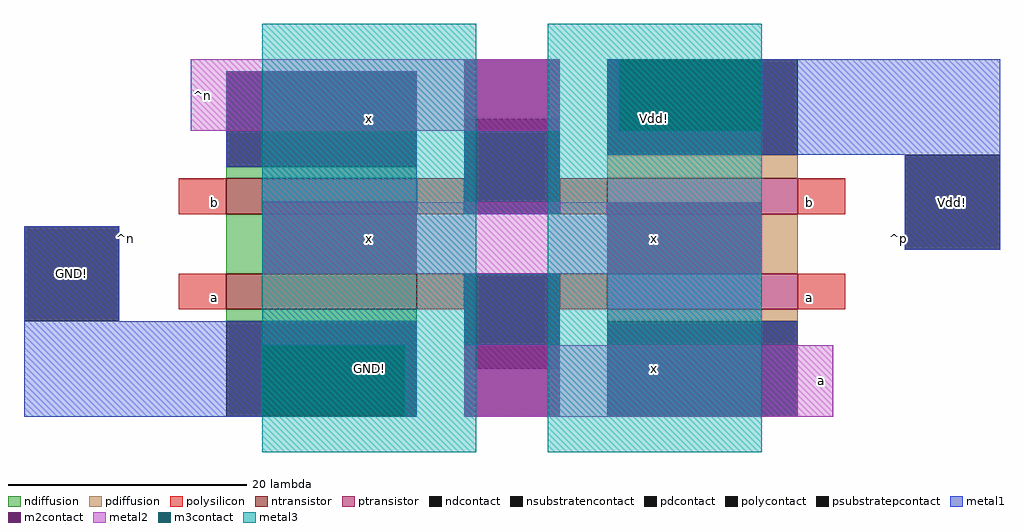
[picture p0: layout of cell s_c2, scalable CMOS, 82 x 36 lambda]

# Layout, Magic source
magic
tech scmos
<< ndiffusion >>
rect -24 305 -8 306
rect -24 297 -8 302
rect -24 293 -8 294
<< pdiffusion >>
rect 8 305 24 307
rect 8 297 24 302
rect 8 293 24 294
<< ntransistor >>
rect -24 302 -8 305
rect -24 294 -8 297
<< ptransistor >>
rect 8 302 24 305
rect 8 294 24 297
<< polysilicon >>
rect -28 302 -24 305
rect -8 302 -4 305
rect 4 302 8 305
rect 24 302 28 305
rect -28 294 -24 297
rect -8 294 -4 297
rect 4 294 8 297
rect 24 294 28 297
<< ndcontact >>
rect -24 306 -8 314
rect -24 285 -8 293
<< pdcontact >>
rect 8 307 24 315
rect 8 285 24 293
<< psubstratepcontact >>
rect -41 293 -33 301
<< nsubstratencontact >>
rect 33 299 41 307
<< polycontact >>
rect -4 302 4 310
rect -4 289 4 297
<< metal1 >>
rect -24 306 -8 314
rect -21 303 -8 306
rect -41 293 -33 301
rect -4 302 4 309
rect 8 309 9 315
rect 21 309 41 315
rect 8 307 41 309
rect 33 299 41 307
rect -41 291 -8 293
rect -41 285 -21 291
rect -9 285 -8 291
rect -4 291 4 297
rect 8 293 21 297
rect 8 285 24 293
<< m2contact >>
rect -21 297 -8 303
rect -4 309 4 315
rect 9 309 21 315
rect 8 297 21 303
rect -21 285 -9 291
rect -4 285 4 291
<< metal2 >>
rect -27 309 4 315
rect -21 297 21 303
rect -4 285 27 291
<< m3contact >>
rect 9 309 21 315
rect -21 285 -9 291
<< metal3 >>
rect -21 282 -3 318
rect 3 282 21 318
<< labels >>
rlabel metal1 -12 310 -12 310 5 x
rlabel m2contact -12 289 -12 289 1 GND!
rlabel metal2 12 300 12 300 1 x
rlabel metal2 -12 300 -12 300 1 x
rlabel m2contact 12 310 12 310 5 Vdd!
rlabel metal1 12 289 12 289 1 x
rlabel polysilicon 25 295 25 295 7 a
rlabel polysilicon 25 303 25 303 7 b
rlabel polysilicon -25 295 -25 295 3 a
rlabel polysilicon -25 303 -25 303 3 b
rlabel metal2 26 288 26 288 7 a
rlabel metal2 25 285 27 291 7 ^p
rlabel metal2 -27 309 -25 315 3 ^n
rlabel metal2 -26 312 -26 312 3 b
rlabel metal1 -37 297 -37 297 3 GND!
rlabel metal1 37 303 37 303 7 Vdd!
rlabel space 23 284 42 316 3 ^p
rlabel space -42 284 -23 316 7 ^n
<< end >>
